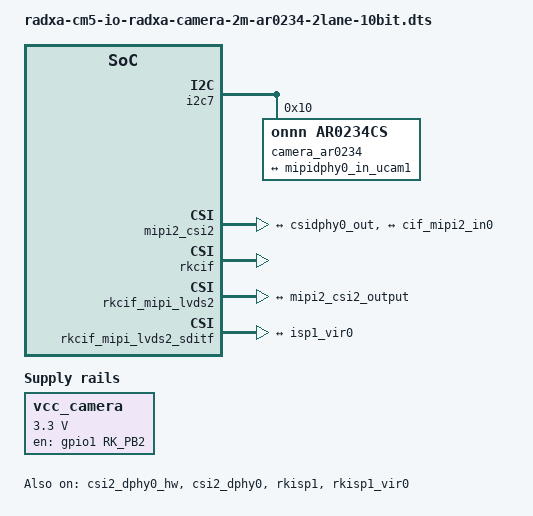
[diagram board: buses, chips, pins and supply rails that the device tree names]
/dts-v1/;
/plugin/;

#include <dt-bindings/gpio/gpio.h>
#include <dt-bindings/pinctrl/rockchip.h>

/ {
	metadata {
		title = "Enable Radxa Camera 2M AR0234 with RAW10 format on CSI0 (15-pin)";
		compatible = "radxa,cm5-io";
		category = "camera";
		exclusive = "GPIO1_B2", "csi2_dphy0", "i2c7";
		description = "Enable Radxa Camera 2M AR0234 with RAW10 format on CSI0 (15-pin).";
	};
};

&{/} {
	vcc_camera: vcc-camera {
		status = "okay";
		compatible = "regulator-fixed";
		regulator-name = "vcc_camera";
		gpio = <&gpio1 RK_PB2 GPIO_ACTIVE_HIGH>;
		enable-active-high;
		regulator-min-microvolt = <3300000>;
		regulator-max-microvolt = <3300000>;
		regulator-always-on;
	};
};

&i2c7 {
	status = "okay";
	pinctrl-0 = <&i2c7m2_xfer>;
	#address-cells = <1>;
	#size-cells = <0>;

	camera_ar0234: camera-ar0234@10 {
		status = "okay";
		compatible = "onnn,ar0234cs";
		reg = <0x10>;
		rockchip,camera-module-index = <1>;
		rockchip,camera-module-facing = "back";
		rockchip,camera-module-name = "default";
		rockchip,camera-module-lens-name = "default";

		port {
			ar0234_out0: endpoint {
				remote-endpoint = <&mipidphy0_in_ucam1>;
				data-lanes = <1 2>;
				link-frequencies = /bits/ 64 <450000000>;
			};
		};
	};
};

&csi2_dphy0_hw {
	status = "okay";
};

&csi2_dphy0 {
	status = "okay";

	ports {
		#address-cells = <1>;
		#size-cells = <0>;

		port@0 {
			reg = <0>;
			#address-cells = <1>;
			#size-cells = <0>;

			mipidphy0_in_ucam1: endpoint@2 {
				reg = <2>;
				remote-endpoint = <&ar0234_out0>;
				data-lanes = <1 2>;
			};
		};

		port@1 {
			reg = <1>;
			#address-cells = <1>;
			#size-cells = <0>;

			csidphy0_out: endpoint@0 {
				reg = <0>;
				remote-endpoint = <&mipi2_csi2_input>;
			};
		};
	};
};

&mipi2_csi2 {
	status = "okay";

	ports {
		#address-cells = <1>;
		#size-cells = <0>;

		port@0 {
			reg = <0>;
			#address-cells = <1>;
			#size-cells = <0>;

			mipi2_csi2_input: endpoint@1 {
				reg = <1>;
				remote-endpoint = <&csidphy0_out>;
			};
		};

		port@1 {
			reg = <1>;
			#address-cells = <1>;
			#size-cells = <0>;

			mipi2_csi2_output: endpoint@0 {
				reg = <0>;
				remote-endpoint = <&cif_mipi2_in0>;
			};
		};
	};
};

&rkcif {
	status = "okay";
};

&rkcif_mipi_lvds2 {
	status = "okay";

	port {
		cif_mipi2_in0: endpoint {
			remote-endpoint = <&mipi2_csi2_output>;
		};
	};
};

&rkcif_mipi_lvds2_sditf {
	status = "okay";

	port {
		mipi_lvds2_sditf: endpoint {
			remote-endpoint = <&isp1_vir0>;
		};
	};
};

&rkcif_mmu {
	status = "okay";
};

&isp1_mmu {
	status = "okay";
};

&rkisp1 {
	status = "okay";
};

&rkisp1_vir0 {
	status = "okay";

	port {
		#address-cells = <1>;
		#size-cells = <0>;

		isp1_vir0: endpoint@0 {
			reg = <0>;
			remote-endpoint = <&mipi_lvds2_sditf>;
		};
	};
};
